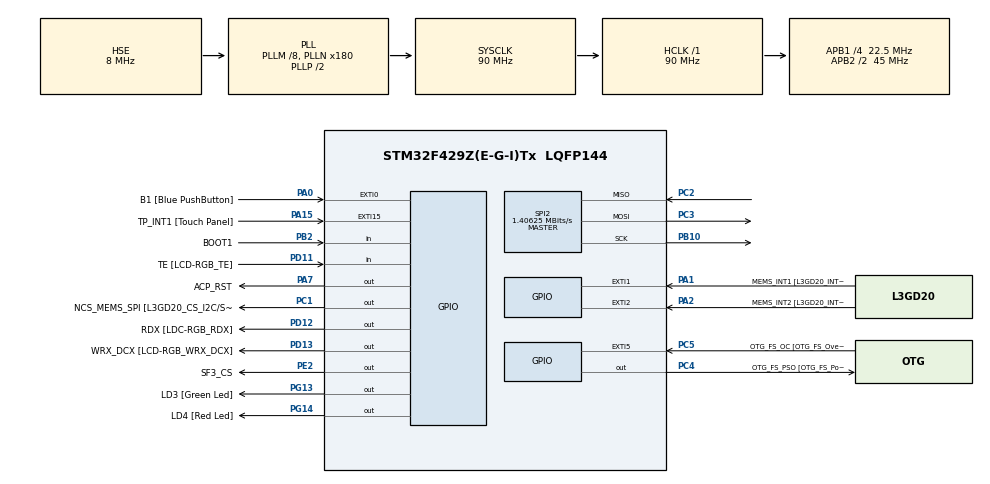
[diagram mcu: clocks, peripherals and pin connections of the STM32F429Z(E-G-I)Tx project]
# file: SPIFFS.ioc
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Mcu.Family=STM32F4
Mcu.Name=STM32F429Z(E-G-I)Tx
Mcu.Package=LQFP144
NVIC.PriorityGroup=NVIC_PRIORITYGROUP_0
PA0/WKUP.GPIO_Label=B1 [Blue PushButton]
PA0/WKUP.GPIO_ModeDefaultEXTI=GPIO_MODE_EVT_RISING
PA0/WKUP.GPIO_PuPd=GPIO_NOPULL
PA0/WKUP.Signal=GPXTI0
PA1.GPIO_Label=MEMS_INT1 [L3GD20_INT1]
PA1.GPIO_ModeDefaultEXTI=GPIO_MODE_EVT_RISING
PA1.GPIO_PuPd=GPIO_NOPULL
PA1.Signal=GPXTI1
PA10.GPIO_Label=STLINK_TX [STM32F103CBT6_PA2]
PA10.Signal=USART1_RX
PA11.GPIO_Label=R4
PA11.GPIO_Mode=GPIO_MODE_AF_PP
PA11.GPIO_PuPd=GPIO_NOPULL
PA11.GPIO_Speed=GPIO_SPEED_FREQ_LOW
PA11.Signal=LTDC_R4
PA12.GPIO_Label=R5
PA12.GPIO_Mode=GPIO_MODE_AF_PP
PA12.GPIO_PuPd=GPIO_NOPULL
PA12.GPIO_Speed=GPIO_SPEED_FREQ_LOW
PA12.Signal=LTDC_R5
PA13.GPIO_Label=SWDIO
PA13.Signal=SYS_JTMS-SWDIO
PA14.GPIO_Label=SWCLK
PA14.Signal=SYS_JTCK-SWCLK
PA15.GPIO_Label=TP_INT1 [Touch Panel]
PA15.GPIO_ModeDefaultEXTI=GPIO_MODE_EVT_RISING
PA15.GPIO_PuPd=GPIO_NOPULL
PA15.Signal=GPXTI15
PA2.GPIO_Label=MEMS_INT2 [L3GD20_INT2]
PA2.GPIO_ModeDefaultEXTI=GPIO_MODE_EVT_RISING
PA2.GPIO_PuPd=GPIO_NOPULL
PA2.Signal=GPXTI2
PA3.GPIO_Label=B5
PA3.GPIO_Mode=GPIO_MODE_AF_PP
PA3.GPIO_PuPd=GPIO_NOPULL
PA3.GPIO_Speed=GPIO_SPEED_FREQ_LOW
PA3.Signal=LTDC_B5
PA4.GPIO_Label=VSYNC
PA4.GPIO_Mode=GPIO_MODE_AF_PP
PA4.GPIO_PuPd=GPIO_NOPULL
PA4.GPIO_Speed=GPIO_SPEED_FREQ_LOW
PA4.Signal=LTDC_VSYNC
PA6.GPIO_Label=G2
PA6.GPIO_Mode=GPIO_MODE_AF_PP
PA6.GPIO_PuPd=GPIO_NOPULL
PA6.GPIO_Speed=GPIO_SPEED_FREQ_LOW
PA6.Signal=LTDC_G2
PA7.GPIO_Label=ACP_RST
PA7.GPIO_Mode=GPIO_MODE_OUTPUT_PP
PA7.GPIO_PuPd=GPIO_NOPULL
PA7.GPIO_Speed=GPIO_SPEED_FREQ_LOW
PA7.Signal=GPIO_Output
PA8.GPIO_Label=I2C3_SCL [ACP/RF_SCL]
PA8.GPIO_Mode=GPIO_MODE_AF_OD
PA8.GPIO_PuPd=GPIO_NOPULL
PA8.GPIO_Speed=GPIO_SPEED_FREQ_LOW
PA8.Signal=I2C3_SCL
PA9.GPIO_Label=STLINK_RX [STM32F103CBT6_PA3]
PA9.Signal=USART1_TX
PB0.GPIO_Label=R3
PB0.GPIO_Mode=GPIO_MODE_AF_PP
PB0.GPIO_PuPd=GPIO_NOPULL
PB0.GPIO_Speed=GPIO_SPEED_FREQ_LOW
PB0.Signal=LTDC_R3
PB1.GPIO_Label=R6
PB1.GPIO_Mode=GPIO_MODE_AF_PP
PB1.GPIO_PuPd=GPIO_NOPULL
PB1.GPIO_Speed=GPIO_SPEED_FREQ_LOW
PB1.Signal=LTDC_R6
PB10.Mode=Full_Duplex_Master
PB10.Signal=SPI2_SCK
PB11.GPIO_Label=G5
PB11.GPIO_Mode=GPIO_MODE_AF_PP
PB11.GPIO_PuPd=GPIO_NOPULL
PB11.GPIO_Speed=GPIO_SPEED_FREQ_LOW
PB11.Signal=LTDC_G5
PB12.GPIO_Label=OTG_FS_ID
PB12.GPIO_Mode=GPIO_MODE_AF_PP
PB12.GPIO_PuPd=GPIO_NOPULL
PB12.GPIO_Speed=GPIO_SPEED_FREQ_LOW
PB12.Signal=USB_OTG_HS_ID
PB13.GPIO_Label=VBUS_FS
PB13.GPIO_Mode=GPIO_MODE_INPUT
PB13.GPIO_PuPd=GPIO_NOPULL
PB13.Signal=USB_OTG_HS_VBUS
PB14.GPIO_Label=OTG_FS_DM
PB14.GPIO_Mode=GPIO_MODE_AF_PP
PB14.GPIO_PuPd=GPIO_NOPULL
PB14.GPIO_Speed=GPIO_SPEED_FREQ_LOW
PB14.Signal=USB_OTG_HS_DM
PB15.GPIO_Label=OTG_FS_DP
PB15.GPIO_Mode=GPIO_MODE_AF_PP
PB15.GPIO_PuPd=GPIO_NOPULL
PB15.GPIO_Speed=GPIO_SPEED_FREQ_LOW
PB15.Signal=USB_OTG_HS_DP
PB2/BOOT1.GPIO_Label=BOOT1
PB2/BOOT1.GPIO_Mode=GPIO_MODE_INPUT
PB2/BOOT1.GPIO_PuPd=GPIO_NOPULL
PB2/BOOT1.Signal=GPIO_Input
PB5.GPIO_Label=SDCKE1
PB5.GPIO_Mode=GPIO_MODE_AF_PP
PB5.GPIO_PuPd=GPIO_NOPULL
PB5.GPIO_Speed=GPIO_SPEED_FREQ_VERY_HIGH
PB5.Signal=FMC_SDCKE1
PB6.GPIO_Label=SDNE1 [SDRAM_CS]
PB6.GPIO_Mode=GPIO_MODE_AF_PP
PB6.GPIO_PuPd=GPIO_NOPULL
PB6.GPIO_Speed=GPIO_SPEED_FREQ_VERY_HIGH
PB6.Signal=FMC_SDNE1
PB8.GPIO_Label=B6
PB8.GPIO_Mode=GPIO_MODE_AF_PP
PB8.GPIO_PuPd=GPIO_NOPULL
PB8.GPIO_Speed=GPIO_SPEED_FREQ_LOW
PB8.Signal=LTDC_B6
PB9.GPIO_Label=B7
PB9.GPIO_Mode=GPIO_MODE_AF_PP
PB9.GPIO_PuPd=GPIO_NOPULL
PB9.GPIO_Speed=GPIO_SPEED_FREQ_LOW
PB9.Signal=LTDC_B7
PC0.GPIO_Label=SDNWE
PC0.GPIO_Mode=GPIO_MODE_AF_PP
PC0.GPIO_PuPd=GPIO_NOPULL
PC0.GPIO_Speed=GPIO_SPEED_FREQ_VERY_HIGH
PC0.Signal=FMC_SDNWE
PC1.GPIO_Label=NCS_MEMS_SPI [L3GD20_CS_I2C/SPI]
PC1.GPIO_Mode=GPIO_MODE_OUTPUT_PP
PC1.GPIO_PuPd=GPIO_NOPULL
PC1.GPIO_Speed=GPIO_SPEED_FREQ_LOW
PC1.Signal=GPIO_Output
PC10.GPIO_Label=R2
PC10.GPIO_Mode=GPIO_MODE_AF_PP
PC10.GPIO_PuPd=GPIO_NOPULL
PC10.GPIO_Speed=GPIO_SPEED_FREQ_LOW
PC10.Signal=LTDC_R2
PC14/OSC32_IN.GPIO_Label=PC14-OSC32_IN
PC14/OSC32_IN.Mode=LSE-External-Oscillator
PC14/OSC32_IN.Signal=RCC_OSC32_IN
PC15/OSC32_OUT.GPIO_Label=PC15-OSC32_OUT
PC15/OSC32_OUT.Mode=LSE-External-Oscillator
PC15/OSC32_OUT.Signal=RCC_OSC32_OUT
PC2.Mode=Full_Duplex_Master
PC2.Signal=SPI2_MISO
PC3.Mode=Full_Duplex_Master
PC3.Signal=SPI2_MOSI
PC4.GPIO_Label=OTG_FS_PSO [OTG_FS_PowerSwitchOn]
PC4.GPIO_Mode=GPIO_MODE_OUTPUT_PP
PC4.GPIO_PuPd=GPIO_NOPULL
PC4.GPIO_Speed=GPIO_SPEED_FREQ_LOW
PC4.Signal=GPIO_Output
PC5.GPIO_Label=OTG_FS_OC [OTG_FS_OverCurrent]
PC5.GPIO_ModeDefaultEXTI=GPIO_MODE_EVT_RISING
PC5.Signal=GPXTI5
PC6.GPIO_Label=HSYNC
PC6.GPIO_Mode=GPIO_MODE_AF_PP
PC6.GPIO_PuPd=GPIO_NOPULL
PC6.GPIO_Speed=GPIO_SPEED_FREQ_LOW
PC6.Signal=LTDC_HSYNC
PC7.GPIO_Label=G6
PC7.GPIO_Mode=GPIO_MODE_AF_PP
PC7.GPIO_PuPd=GPIO_NOPULL
PC7.GPIO_Speed=GPIO_SPEED_FREQ_LOW
PC7.Signal=LTDC_G6
PC9.GPIO_Label=I2C3_SDA [ACP/RF_SDA]
PC9.GPIO_Mode=GPIO_MODE_AF_OD
PC9.GPIO_PuPd=GPIO_NOPULL
PC9.GPIO_Speed=GPIO_SPEED_FREQ_LOW
PC9.Signal=I2C3_SDA
PD0.GPIO_Label=D2
PD0.GPIO_Mode=GPIO_MODE_AF_PP
PD0.GPIO_PuPd=GPIO_NOPULL
PD0.GPIO_Speed=GPIO_SPEED_FREQ_VERY_HIGH
PD0.Signal=FMC_D2_DA2
PD1.GPIO_Label=D3
PD1.GPIO_Mode=GPIO_MODE_AF_PP
PD1.GPIO_PuPd=GPIO_NOPULL
PD1.GPIO_Speed=GPIO_SPEED_FREQ_VERY_HIGH
PD1.Signal=FMC_D3_DA3
PD10.GPIO_Label=D15
PD10.GPIO_Mode=GPIO_MODE_AF_PP
PD10.GPIO_PuPd=GPIO_NOPULL
PD10.GPIO_Speed=GPIO_SPEED_FREQ_VERY_HIGH
PD10.Signal=FMC_D15_DA15
PD11.GPIO_Label=TE [LCD-RGB_TE]
PD11.GPIO_Mode=GPIO_MODE_INPUT
PD11.GPIO_PuPd=GPIO_NOPULL
PD11.Signal=GPIO_Input
PD12.GPIO_Label=RDX [LDC-RGB_RDX]
PD12.GPIO_Mode=GPIO_MODE_OUTPUT_PP
PD12.GPIO_PuPd=GPIO_NOPULL
PD12.GPIO_Speed=GPIO_SPEED_FREQ_LOW
PD12.Signal=GPIO_Output
PD13.GPIO_Label=WRX_DCX [LCD-RGB_WRX_DCX]
PD13.GPIO_Mode=GPIO_MODE_OUTPUT_PP
PD13.GPIO_PuPd=GPIO_NOPULL
PD13.GPIO_Speed=GPIO_SPEED_FREQ_LOW
PD13.Signal=GPIO_Output
PD14.GPIO_Label=D0
PD14.GPIO_Mode=GPIO_MODE_AF_PP
PD14.GPIO_PuPd=GPIO_NOPULL
PD14.GPIO_Speed=GPIO_SPEED_FREQ_VERY_HIGH
PD14.Signal=FMC_D0_DA0
PD15.GPIO_Label=D1
PD15.GPIO_Mode=GPIO_MODE_AF_PP
PD15.GPIO_PuPd=GPIO_NOPULL
PD15.GPIO_Speed=GPIO_SPEED_FREQ_VERY_HIGH
PD15.Signal=FMC_D1_DA1
PD3.GPIO_Label=G7
PD3.GPIO_Mode=GPIO_MODE_AF_PP
PD3.GPIO_PuPd=GPIO_NOPULL
PD3.GPIO_Speed=GPIO_SPEED_FREQ_LOW
PD3.Signal=LTDC_G7
PD6.GPIO_Label=B2
PD6.GPIO_Mode=GPIO_MODE_AF_PP
PD6.GPIO_PuPd=GPIO_NOPULL
PD6.GPIO_Speed=GPIO_SPEED_FREQ_LOW
PD6.Signal=LTDC_B2
PD8.GPIO_Label=D13
PD8.GPIO_Mode=GPIO_MODE_AF_PP
PD8.GPIO_PuPd=GPIO_NOPULL
PD8.GPIO_Speed=GPIO_SPEED_FREQ_VERY_HIGH
PD8.Signal=FMC_D13_DA13
PD9.GPIO_Label=D14
PD9.GPIO_Mode=GPIO_MODE_AF_PP
PD9.GPIO_PuPd=GPIO_NOPULL
PD9.GPIO_Speed=GPIO_SPEED_FREQ_VERY_HIGH
PD9.Signal=FMC_D14_DA14
PE0.GPIO_Label=NBL0 [SDRAM_LDQM]
PE0.GPIO_Mode=GPIO_MODE_AF_PP
PE0.GPIO_PuPd=GPIO_NOPULL
PE0.GPIO_Speed=GPIO_SPEED_FREQ_VERY_HIGH
PE0.Signal=FMC_NBL0
PE1.GPIO_Label=NBL1 [SDRAM_UDQM]
PE1.GPIO_Mode=GPIO_MODE_AF_PP
PE1.GPIO_PuPd=GPIO_NOPULL
PE1.GPIO_Speed=GPIO_SPEED_FREQ_VERY_HIGH
PE1.Signal=FMC_NBL1
PE10.GPIO_Label=D7
PE10.GPIO_Mode=GPIO_MODE_AF_PP
PE10.GPIO_PuPd=GPIO_NOPULL
PE10.GPIO_Speed=GPIO_SPEED_FREQ_VERY_HIGH
PE10.Signal=FMC_D7_DA7
PE11.GPIO_Label=D8
PE11.GPIO_Mode=GPIO_MODE_AF_PP
PE11.GPIO_PuPd=GPIO_NOPULL
PE11.GPIO_Speed=GPIO_SPEED_FREQ_VERY_HIGH
PE11.Signal=FMC_D8_DA8
PE12.GPIO_Label=D9
PE12.GPIO_Mode=GPIO_MODE_AF_PP
PE12.GPIO_PuPd=GPIO_NOPULL
PE12.GPIO_Speed=GPIO_SPEED_FREQ_VERY_HIGH
PE12.Signal=FMC_D9_DA9
PE13.GPIO_Label=D10
PE13.GPIO_Mode=GPIO_MODE_AF_PP
PE13.GPIO_PuPd=GPIO_NOPULL
PE13.GPIO_Speed=GPIO_SPEED_FREQ_VERY_HIGH
PE13.Signal=FMC_D10_DA10
PE14.GPIO_Label=D11
PE14.GPIO_Mode=GPIO_MODE_AF_PP
PE14.GPIO_PuPd=GPIO_NOPULL
PE14.GPIO_Speed=GPIO_SPEED_FREQ_VERY_HIGH
PE14.Signal=FMC_D11_DA11
PE15.GPIO_Label=D12
PE15.GPIO_Mode=GPIO_MODE_AF_PP
PE15.GPIO_PuPd=GPIO_NOPULL
PE15.GPIO_Speed=GPIO_SPEED_FREQ_VERY_HIGH
PE15.Signal=FMC_D12_DA12
PE2.GPIO_Label=SF3_CS
PE2.Signal=GPIO_Output
PE7.GPIO_Label=D4
PE7.GPIO_Mode=GPIO_MODE_AF_PP
PE7.GPIO_PuPd=GPIO_NOPULL
PE7.GPIO_Speed=GPIO_SPEED_FREQ_VERY_HIGH
PE7.Signal=FMC_D4_DA4
PE8.GPIO_Label=D5
PE8.GPIO_Mode=GPIO_MODE_AF_PP
PE8.GPIO_PuPd=GPIO_NOPULL
PE8.GPIO_Speed=GPIO_SPEED_FREQ_VERY_HIGH
PE8.Signal=FMC_D5_DA5
PE9.GPIO_Label=D6
PE9.GPIO_Mode=GPIO_MODE_AF_PP
PE9.GPIO_PuPd=GPIO_NOPULL
PE9.GPIO_Speed=GPIO_SPEED_FREQ_VERY_HIGH
PE9.Signal=FMC_D6_DA6
PF0.GPIO_Label=A0
PF0.GPIO_Mode=GPIO_MODE_AF_PP
PF0.GPIO_PuPd=GPIO_NOPULL
PF0.GPIO_Speed=GPIO_SPEED_FREQ_VERY_HIGH
PF0.Signal=FMC_A0
PF1.GPIO_Label=A1
PF1.GPIO_Mode=GPIO_MODE_AF_PP
PF1.GPIO_PuPd=GPIO_NOPULL
PF1.GPIO_Speed=GPIO_SPEED_FREQ_VERY_HIGH
PF1.Signal=FMC_A1
PF10.GPIO_Label=ENABLE [LCD-RGB_ENABLE]
PF10.GPIO_Mode=GPIO_MODE_AF_PP
PF10.GPIO_PuPd=GPIO_NOPULL
PF10.GPIO_Speed=GPIO_SPEED_FREQ_LOW
PF10.Signal=LTDC_DE
PF11.GPIO_Label=SDNRAS
PF11.GPIO_Mode=GPIO_MODE_AF_PP
PF11.GPIO_PuPd=GPIO_NOPULL
PF11.GPIO_Speed=GPIO_SPEED_FREQ_VERY_HIGH
PF11.Signal=FMC_SDNRAS
PF12.GPIO_Label=A6
PF12.GPIO_Mode=GPIO_MODE_AF_PP
PF12.GPIO_PuPd=GPIO_NOPULL
PF12.GPIO_Speed=GPIO_SPEED_FREQ_VERY_HIGH
PF12.Signal=FMC_A6
PF13.GPIO_Label=A7
PF13.GPIO_Mode=GPIO_MODE_AF_PP
PF13.GPIO_PuPd=GPIO_NOPULL
PF13.GPIO_Speed=GPIO_SPEED_FREQ_VERY_HIGH
PF13.Signal=FMC_A7
PF14.GPIO_Label=A8
PF14.GPIO_Mode=GPIO_MODE_AF_PP
PF14.GPIO_PuPd=GPIO_NOPULL
PF14.GPIO_Speed=GPIO_SPEED_FREQ_VERY_HIGH
PF14.Signal=FMC_A8
PF15.GPIO_Label=A9
PF15.GPIO_Mode=GPIO_MODE_AF_PP
PF15.GPIO_PuPd=GPIO_NOPULL
PF15.GPIO_Speed=GPIO_SPEED_FREQ_VERY_HIGH
PF15.Signal=FMC_A9
PF2.GPIO_Label=A2
PF2.GPIO_Mode=GPIO_MODE_AF_PP
PF2.GPIO_PuPd=GPIO_NOPULL
PF2.GPIO_Speed=GPIO_SPEED_FREQ_VERY_HIGH
PF2.Signal=FMC_A2
PF3.GPIO_Label=A3
PF3.GPIO_Mode=GPIO_MODE_AF_PP
PF3.GPIO_PuPd=GPIO_NOPULL
PF3.GPIO_Speed=GPIO_SPEED_FREQ_VERY_HIGH
PF3.Signal=FMC_A3
PF4.GPIO_Label=A4
PF4.GPIO_Mode=GPIO_MODE_AF_PP
PF4.GPIO_PuPd=GPIO_NOPULL
PF4.GPIO_Speed=GPIO_SPEED_FREQ_VERY_HIGH
PF4.Signal=FMC_A4
PF5.GPIO_Label=A5
PF5.GPIO_Mode=GPIO_MODE_AF_PP
PF5.GPIO_PuPd=GPIO_NOPULL
PF5.GPIO_Speed=GPIO_SPEED_FREQ_VERY_HIGH
PF5.Signal=FMC_A5
PF7.GPIO_Label=SPI5_SCK [L3GD20_SCL/SPC]
PF7.GPIO_Mode=GPIO_MODE_AF_PP
PF7.GPIO_PuPd=GPIO_NOPULL
PF7.GPIO_Speed=GPIO_SPEED_FREQ_LOW
PF7.Signal=SPI5_SCK
PF8.GPIO_Label=SPI5_MISO [L3GD20_SDO]
PF8.GPIO_Mode=GPIO_MODE_AF_PP
PF8.GPIO_PuPd=GPIO_NOPULL
PF8.GPIO_Speed=GPIO_SPEED_FREQ_LOW
PF8.Signal=SPI5_MISO
PF9.GPIO_Label=SPI5_MOSI [L3GD20_SDA/SDI/SDO]
PF9.GPIO_Mode=GPIO_MODE_AF_PP
PF9.GPIO_PuPd=GPIO_NOPULL
PF9.GPIO_Speed=GPIO_SPEED_FREQ_LOW
PF9.Signal=SPI5_MOSI
PG0.GPIO_Label=A10
PG0.GPIO_Mode=GPIO_MODE_AF_PP
PG0.GPIO_PuPd=GPIO_NOPULL
PG0.GPIO_Speed=GPIO_SPEED_FREQ_VERY_HIGH
PG0.Signal=FMC_A10
PG1.GPIO_Label=A11
PG1.GPIO_Mode=GPIO_MODE_AF_PP
PG1.GPIO_PuPd=GPIO_NOPULL
PG1.GPIO_Speed=GPIO_SPEED_FREQ_VERY_HIGH
PG1.Signal=FMC_A11
PG10.GPIO_Label=G3
PG10.GPIO_Mode=GPIO_MODE_AF_PP
PG10.GPIO_PuPd=GPIO_NOPULL
PG10.GPIO_Speed=GPIO_SPEED_FREQ_LOW
PG10.Signal=LTDC_G3
PG11.GPIO_Label=B3
PG11.GPIO_Mode=GPIO_MODE_AF_PP
PG11.GPIO_PuPd=GPIO_NOPULL
PG11.GPIO_Speed=GPIO_SPEED_FREQ_LOW
PG11.Signal=LTDC_B3
PG12.GPIO_Label=B4
PG12.GPIO_Mode=GPIO_MODE_AF_PP
PG12.GPIO_PuPd=GPIO_NOPULL
PG12.GPIO_Speed=GPIO_SPEED_FREQ_LOW
PG12.Signal=LTDC_B4
PG13.GPIO_Label=LD3 [Green Led]
PG13.GPIO_Mode=GPIO_MODE_OUTPUT_PP
PG13.GPIO_PuPd=GPIO_NOPULL
PG13.GPIO_Speed=GPIO_SPEED_FREQ_LOW
PG13.Signal=GPIO_Output
PG14.GPIO_Label=LD4 [Red Led]
PG14.GPIO_Mode=GPIO_MODE_OUTPUT_PP
PG14.GPIO_PuPd=GPIO_NOPULL
PG14.GPIO_Speed=GPIO_SPEED_FREQ_LOW
PG14.Signal=GPIO_Output
PG15.GPIO_Label=SDNCAS
PG15.GPIO_Mode=GPIO_MODE_AF_PP
PG15.GPIO_PuPd=GPIO_NOPULL
PG15.GPIO_Speed=GPIO_SPEED_FREQ_VERY_HIGH
PG15.Signal=FMC_SDNCAS
PG4.GPIO_Label=BA0
PG4.GPIO_Mode=GPIO_MODE_AF_PP
PG4.GPIO_PuPd=GPIO_NOPULL
PG4.GPIO_Speed=GPIO_SPEED_FREQ_VERY_HIGH
PG4.Signal=FMC_A14_BA0
PG5.GPIO_Label=BA1
PG5.GPIO_Mode=GPIO_MODE_AF_PP
PG5.GPIO_PuPd=GPIO_NOPULL
PG5.GPIO_Speed=GPIO_SPEED_FREQ_VERY_HIGH
PG5.Signal=FMC_A15_BA1
PG6.GPIO_Label=R7
PG6.GPIO_Mode=GPIO_MODE_AF_PP
PG6.GPIO_PuPd=GPIO_NOPULL
PG6.GPIO_Speed=GPIO_SPEED_FREQ_LOW
PG6.Signal=LTDC_R7
PG7.GPIO_Label=DOTCLK [LCT-RGB_DOTCLK]
PG7.GPIO_Mode=GPIO_MODE_AF_PP
PG7.GPIO_PuPd=GPIO_NOPULL
PG7.GPIO_Speed=GPIO_SPEED_FREQ_LOW
PG7.Signal=LTDC_CLK
PG8.GPIO_Label=SDCLK
PG8.GPIO_Mode=GPIO_MODE_AF_PP
PG8.GPIO_PuPd=GPIO_NOPULL
PG8.GPIO_Speed=GPIO_SPEED_FREQ_VERY_HIGH
PG8.Signal=FMC_SDCLK
PH0/OSC_IN.GPIO_Label=PH0-OSC_IN
PH0/OSC_IN.Mode=HSE-External-Oscillator
PH0/OSC_IN.Signal=RCC_OSC_IN
PH1/OSC_OUT.GPIO_Label=PH1-OSC_OUT
PH1/OSC_OUT.Mode=HSE-External-Oscillator
PH1/OSC_OUT.Signal=RCC_OSC_OUT
ProjectManager.HeapSize=0x200
ProjectManager.StackSize=0x400
ProjectManager.TargetToolchain=SW4STM32
RCC.48MHZClocksFreq_Value=25714285.714285713
RCC.AHBFreq_Value=90000000
RCC.APB1CLKDivider=RCC_HCLK_DIV4
RCC.APB1Freq_Value=22500000
RCC.APB1TimFreq_Value=45000000
RCC.APB2CLKDivider=RCC_HCLK_DIV2
RCC.APB2Freq_Value=45000000
RCC.APB2TimFreq_Value=90000000
RCC.CortexFreq_Value=90000000
RCC.HCLKFreq_Value=90000000
RCC.HSE_VALUE=8000000
RCC.HSI_VALUE=16000000
RCC.PLLM=8
RCC.PLLN=180
RCC.PLLQ=7
RCC.PLLSourceVirtual=RCC_PLLSOURCE_HSE
RCC.SYSCLKFreq_VALUE=90000000
RCC.SYSCLKSource=RCC_SYSCLKSOURCE_PLLCLK
RCC.VCOOutputFreq_Value=180000000
SH.FMC_A0.0=FMC_A0
SH.FMC_A1.0=FMC_A1
SH.FMC_A10.0=FMC_A10
SH.FMC_A11.0=FMC_A11
SH.FMC_A14_BA0.0=FMC_BA0
SH.FMC_A15_BA1.0=FMC_BA1
SH.FMC_A2.0=FMC_A2
SH.FMC_A3.0=FMC_A3
SH.FMC_A4.0=FMC_A4
SH.FMC_A5.0=FMC_A5
SH.FMC_A6.0=FMC_A6
SH.FMC_A7.0=FMC_A7
SH.FMC_A8.0=FMC_A8
SH.FMC_A9.0=FMC_A9
SH.FMC_D0_DA0.0=FMC_D0
SH.FMC_D10_DA10.0=FMC_D10
SH.FMC_D11_DA11.0=FMC_D11
SH.FMC_D12_DA12.0=FMC_D12
SH.FMC_D13_DA13.0=FMC_D13
SH.FMC_D14_DA14.0=FMC_D14
SH.FMC_D15_DA15.0=FMC_D15
SH.FMC_D1_DA1.0=FMC_D1
SH.FMC_D2_DA2.0=FMC_D2
SH.FMC_D3_DA3.0=FMC_D3
SH.FMC_D4_DA4.0=FMC_D4
SH.FMC_D5_DA5.0=FMC_D5
SH.FMC_D6_DA6.0=FMC_D6
SH.FMC_D7_DA7.0=FMC_D7
SH.FMC_D8_DA8.0=FMC_D8
SH.FMC_D9_DA9.0=FMC_D9
SH.FMC_NBL0.0=FMC_NBL0
SH.FMC_NBL1.0=FMC_NBL1
SH.FMC_SDCLK.0=FMC_SDCLK
SH.FMC_SDNCAS.0=FMC_SDNCAS
SH.FMC_SDNRAS.0=FMC_SDNRAS
SH.FMC_SDNWE.0=FMC_SDNWE
SPI2.BaudRatePrescaler=SPI_BAUDRATEPRESCALER_16
SPI2.CalculateBaudRate=1.40625 MBits/s
SPI2.Direction=SPI_DIRECTION_2LINES
SPI2.Mode=SPI_MODE_MASTER
SPI2.VirtualType=VM_MASTER
board=STM32F429I-DISC1

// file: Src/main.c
/**
  ******************************************************************************
  * File Name          : main.c
  * Description        : Main program body
  ******************************************************************************
  ** This notice applies to any and all portions of this file
  * that are not between comment pairs USER CODE BEGIN and
  * USER CODE END. Other portions of this file, whether
  * inserted by the user or by software development tools
  * are owned by their respective copyright owners.
  *
  * COPYRIGHT(c) 2017 STMicroelectronics
  *
  * Redistribution and use in source and binary forms, with or without modification,
  * are permitted provided that the following conditions are met:
  *   1. Redistributions of source code must retain the above copyright notice,
  *      this list of conditions and the following disclaimer.
  *   2. Redistributions in binary form must reproduce the above copyright notice,
  *      this list of conditions and the following disclaimer in the documentation
  *      and/or other materials provided with the distribution.
  *   3. Neither the name of STMicroelectronics nor the names of its contributors
  *      may be used to endorse or promote products derived from this software
  *      without specific prior written permission.
  *
  * THIS SOFTWARE IS PROVIDED BY THE COPYRIGHT HOLDERS AND CONTRIBUTORS "AS IS"
  * AND ANY EXPRESS OR IMPLIED WARRANTIES, INCLUDING, BUT NOT LIMITED TO, THE
  * IMPLIED WARRANTIES OF MERCHANTABILITY AND FITNESS FOR A PARTICULAR PURPOSE ARE
  * DISCLAIMED. IN NO EVENT SHALL THE COPYRIGHT HOLDER OR CONTRIBUTORS BE LIABLE
  * FOR ANY DIRECT, INDIRECT, INCIDENTAL, SPECIAL, EXEMPLARY, OR CONSEQUENTIAL
  * DAMAGES (INCLUDING, BUT NOT LIMITED TO, PROCUREMENT OF SUBSTITUTE GOODS OR
  * SERVICES; LOSS OF USE, DATA, OR PROFITS; OR BUSINESS INTERRUPTION) HOWEVER
  * CAUSED AND ON ANY THEORY OF LIABILITY, WHETHER IN CONTRACT, STRICT LIABILITY,
  * OR TORT (INCLUDING NEGLIGENCE OR OTHERWISE) ARISING IN ANY WAY OUT OF THE USE
  * OF THIS SOFTWARE, EVEN IF ADVISED OF THE POSSIBILITY OF SUCH DAMAGE.
  *
  ******************************************************************************
  */
#include "main.h"
#include "stm32f4xx_hal.h"
#include "spi.h"
#include "gpio.h"

/* USER CODE BEGIN Includes */
#include "spi_flash.h"
#include "spiffs.h"
/* USER CODE END Includes */

/* USER CODE BEGIN PV */
/* Private variables ---------------------------------------------------------*/
static spiffs fs;
/* USER CODE END PV */

void SystemClock_Config(void);

/* USER CODE BEGIN PFP */
/* Private function prototypes -----------------------------------------------*/
#define LOG_PAGE_SIZE       256
static void my_spiffs_mount();
static u8_t spiffs_work_buf[LOG_PAGE_SIZE*2];
static u8_t spiffs_fds[32*4];
static u8_t spiffs_cache_buf[(LOG_PAGE_SIZE+32)*4];
/* USER CODE END PFP */

int main(void)
{

  /* USER CODE BEGIN 1 */
	char buf[12];
	spiffs_file fd1,fd2;
  /* USER CODE END 1 */

  /* MCU Configuration----------------------------------------------------------*/

  /* Reset of all peripherals, Initializes the Flash interface and the Systick. */
  HAL_Init();

  /* Configure the system clock */
  SystemClock_Config();

  /* Initialize all configured peripherals */
  MX_GPIO_Init();
  MX_SPI2_Init();

  /* USER CODE BEGIN 2 */
  sFLASH_Init();
  my_spiffs_mount();

    // create a file, delete previous if it already exists, and open it for reading and writing
    fd1 = SPIFFS_open(&fs, "my_file", SPIFFS_CREAT | SPIFFS_RDWR, 0);
    fd2 = SPIFFS_open(&fs, "baba_file", SPIFFS_CREAT | SPIFFS_RDWR, 0);
    SPIFFS_errno(fs);
//    if (fd1 < 0) {
//      printf("errno %i\n", SPIFFS_errno(&fs));
//      return 1;
//    }
    // write to it
    if (SPIFFS_write(&fs, fd1, (u8_t *)"Hello world", 12) < 0) {
      printf("errno %i\n", SPIFFS_errno(&fs));
      return 1;
    }
    if (SPIFFS_write(&fs, fd2, (u8_t *)"Baba", 5) < 0) {
          printf("errno %i\n", SPIFFS_errno(&fs));
          return 1;
        }
    // close it
    if (SPIFFS_close(&fs, fd1) < 0) {
      printf("errno %i\n", SPIFFS_errno(&fs));
      return 1;
    }
    if (SPIFFS_close(&fs, fd2) < 0) {
         printf("errno %i\n", SPIFFS_errno(&fs));
         return 1;
       }

    // open it
    fd1 = SPIFFS_open(&fs, "my_file", SPIFFS_RDWR, 0);
    fd2 = SPIFFS_open(&fs, "baba_file", SPIFFS_RDWR, 0);
//    if (fd1 < 0) {
//      printf("errno %i\n", SPIFFS_errno(&fs));
//      return 1;
//    }

    // read it
    if (SPIFFS_read(&fs, fd1, (u8_t *)buf, 12) < 0) {
      printf("errno %i\n", SPIFFS_errno(&fs));
      return 1;
    }
    if (SPIFFS_read(&fs, fd2, (u8_t *)buf, 5) < 0) {
         printf("errno %i\n", SPIFFS_errno(&fs));
         return 1;
       }
    // close it
    if (SPIFFS_close(&fs, fd1) < 0) {
      printf("errno %i\n", SPIFFS_errno(&fs));
      return 1;
    }
    if (SPIFFS_close(&fs, fd2) < 0) {
          printf("errno %i\n", SPIFFS_errno(&fs));
          return 1;
        }
  SPIFFS_unmount(&fs);
  //ID = sFLASH_ReadID();

  /* USER CODE END 2 */

  /* Infinite loop */
  while (1)
  {

  }

}

/** System Clock Configuration
*/
void SystemClock_Config(void)
{

  RCC_OscInitTypeDef RCC_OscInitStruct;
  RCC_ClkInitTypeDef RCC_ClkInitStruct;

    /**Configure the main internal regulator output voltage
    */
  __HAL_RCC_PWR_CLK_ENABLE();

  __HAL_PWR_VOLTAGESCALING_CONFIG(PWR_REGULATOR_VOLTAGE_SCALE3);

    /**Initializes the CPU, AHB and APB busses clocks
    */
  RCC_OscInitStruct.OscillatorType = RCC_OSCILLATORTYPE_HSE;
  RCC_OscInitStruct.HSEState = RCC_HSE_ON;
  RCC_OscInitStruct.PLL.PLLState = RCC_PLL_ON;
  RCC_OscInitStruct.PLL.PLLSource = RCC_PLLSOURCE_HSE;
  RCC_OscInitStruct.PLL.PLLM = 8;
  RCC_OscInitStruct.PLL.PLLN = 180;
  RCC_OscInitStruct.PLL.PLLP = RCC_PLLP_DIV2;
  RCC_OscInitStruct.PLL.PLLQ = 7;
  if (HAL_RCC_OscConfig(&RCC_OscInitStruct) != HAL_OK)
  {
    _Error_Handler(__FILE__, __LINE__);
  }

    /**Initializes the CPU, AHB and APB busses clocks
    */
  RCC_ClkInitStruct.ClockType = RCC_CLOCKTYPE_HCLK|RCC_CLOCKTYPE_SYSCLK
                              |RCC_CLOCKTYPE_PCLK1|RCC_CLOCKTYPE_PCLK2;
  RCC_ClkInitStruct.SYSCLKSource = RCC_SYSCLKSOURCE_PLLCLK;
  RCC_ClkInitStruct.AHBCLKDivider = RCC_SYSCLK_DIV1;
  RCC_ClkInitStruct.APB1CLKDivider = RCC_HCLK_DIV4;
  RCC_ClkInitStruct.APB2CLKDivider = RCC_HCLK_DIV2;

  if (HAL_RCC_ClockConfig(&RCC_ClkInitStruct, FLASH_LATENCY_2) != HAL_OK)
  {
    _Error_Handler(__FILE__, __LINE__);
  }

    /**Configure the Systick interrupt time
    */
  HAL_SYSTICK_Config(HAL_RCC_GetHCLKFreq()/1000);

    /**Configure the Systick
    */
  HAL_SYSTICK_CLKSourceConfig(SYSTICK_CLKSOURCE_HCLK);

  /* SysTick_IRQn interrupt configuration */
  HAL_NVIC_SetPriority(SysTick_IRQn, 0, 0);
}

/* USER CODE BEGIN 4 */
static s32_t my_spiffs_read(u32_t addr, u32_t size, u8_t *dst) {
    sFLASH_ReadBuffer(dst,addr,size);
    return SPIFFS_OK;
  }

  static s32_t my_spiffs_write(u32_t addr, u32_t size, u8_t *src) {
	sFLASH_WriteBuffer(src,addr,size);
    return SPIFFS_OK;
  }

  static s32_t my_spiffs_erase(u32_t addr, u32_t size) {

    return sFLASH_Erase(addr, size);
  }

void my_spiffs_mount() {
    spiffs_config cfg;
    cfg.phys_size = N25Q256A_FLASH_SIZE; // use all spi flash
    cfg.phys_addr = 0; // start spiffs at start of spi flash
    cfg.phys_erase_block = N25Q256A_SECTOR_SIZE; // according to datasheet
    cfg.log_block_size = N25Q256A_SECTOR_SIZE; // let us not complicate things
    cfg.log_page_size = N25Q256A_PAGE_SIZE; // as we said

    cfg.hal_read_f = my_spiffs_read;
    cfg.hal_write_f = my_spiffs_write;
    cfg.hal_erase_f = my_spiffs_erase;

    int res = SPIFFS_mount(&fs,
      &cfg,
      spiffs_work_buf,
      spiffs_fds,
      sizeof(spiffs_fds),
      spiffs_cache_buf,
      sizeof(spiffs_cache_buf),
      0);
    printf("mount res: %i\n", res);
  }

/* USER CODE END 4 */

void _Error_Handler(char * file, int line)
{
  while(1)
  {
  }
}

/************************ (C) COPYRIGHT STMicroelectronics *****END OF FILE****/
